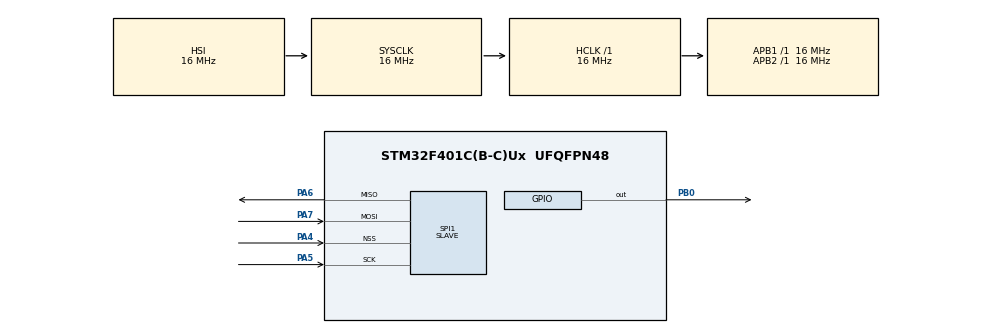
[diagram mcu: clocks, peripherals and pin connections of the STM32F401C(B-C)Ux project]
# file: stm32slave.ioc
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Mcu.Family=STM32F4
Mcu.Name=STM32F401C(B-C)Ux
Mcu.Package=UFQFPN48
NVIC.PriorityGroup=NVIC_PRIORITYGROUP_4
PA4.Mode=NSS_Signal_Hard_Input
PA4.Signal=SPI1_NSS
PA5.Mode=Full_Duplex_Slave
PA5.Signal=SPI1_SCK
PA6.Mode=Full_Duplex_Slave
PA6.Signal=SPI1_MISO
PA7.Mode=Full_Duplex_Slave
PA7.Signal=SPI1_MOSI
PB0.Signal=GPIO_Output
ProjectManager.HeapSize=0x200
ProjectManager.StackSize=0x400
ProjectManager.TargetToolchain=STM32CubeIDE
RCC.AHBFreq_Value=16000000
RCC.APB1Freq_Value=16000000
RCC.APB2Freq_Value=16000000
RCC.CortexFreq_Value=16000000
RCC.HSE_VALUE=25000000
RCC.HSI_VALUE=16000000
RCC.LSE_VALUE=32768
RCC.SYSCLKFreq_VALUE=16000000
RCC.VCOOutputFreq_Value=192000000
SPI1.Direction=SPI_DIRECTION_2LINES
SPI1.Mode=SPI_MODE_SLAVE
SPI1.VirtualNSS=VM_NSSHARD
SPI1.VirtualType=VM_SLAVE
board=custom

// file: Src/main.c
/* USER CODE BEGIN Header */
/**
  ******************************************************************************
  * @file           : main.c
  * @brief          : Main program body
  ******************************************************************************
  * @attention
  *
  * Copyright (c) 2026 STMicroelectronics.
  * All rights reserved.
  *
  * This software is licensed under terms that can be found in the LICENSE file
  * in the root directory of this software component.
  * If no LICENSE file comes with this software, it is provided AS-IS.
  *
  ******************************************************************************
  */
/* USER CODE END Header */
#include "main.h"

/* USER CODE BEGIN Includes */
#include <string.h>
/* USER CODE END Includes */

/* USER CODE BEGIN PD */
#define SPI_FRAME_LEN   8U    /* must match the ESP32 master's FRAME_LEN */
#define SPI_SYNC_BYTE   0xA5U /* master -> slave request marker */
#define SPI_ACK_BYTE    0x5AU /* slave -> master response marker */

#define CMD_SET_LED     0x10U /* frame[2] = 0 -> PB0 low, nonzero -> PB0 high */
/* USER CODE END PD */

SPI_HandleTypeDef hspi1;

/* USER CODE BEGIN PV */
static uint8_t spi_tx_buf[SPI_FRAME_LEN];
static uint8_t spi_rx_buf[SPI_FRAME_LEN];
/* USER CODE END PV */

void SystemClock_Config(void);
static void MX_GPIO_Init(void);
static void MX_SPI1_Init(void);

/* USER CODE BEGIN 0 */

/* Byte 0 of every frame in both directions is a throwaway dummy: STM32 hardware-NSS SPI
 * slave mode is known to unreliably capture/shift out the very first byte right after NSS
 * asserts (the shift register isn't guaranteed armed in time for the first clock edge), so
 * real data is placed starting at byte 1 to keep that unreliable byte out of the way.
 *
 * request:  frame[0]=dummy, frame[1]=SPI_SYNC_BYTE, frame[2]=command, frame[3]=argument,
 *           frame[4]=checksum (XOR of frame[1..3])
 * response: resp[0]=dummy,  resp[1]=SPI_ACK_BYTE,   resp[2]=command echoed, resp[3]=argument applied,
 *           resp[4]=status (1=ok), resp[5]=checksum (XOR of resp[1..4])
 * The checksum lets each side reject a frame that was electrically corrupted in transit, instead of
 * mistaking garbage for a valid sync/ack marker. */
static void Process_SPI_Command(const uint8_t *frame, uint8_t *response)
{
  memset(response, 0, SPI_FRAME_LEN);

  uint8_t frame_checksum = frame[1] ^ frame[2] ^ frame[3];
  if (frame[1] != SPI_SYNC_BYTE || frame[4] != frame_checksum)
  {
    return;
  }

  uint8_t status = 0U;
  if (frame[2] == CMD_SET_LED)
  {
    HAL_GPIO_WritePin(GPIOB, GPIO_PIN_0, frame[3] != 0U ? GPIO_PIN_SET : GPIO_PIN_RESET);
    status = 1U;
  }

  response[1] = SPI_ACK_BYTE;
  response[2] = frame[2];
  response[3] = frame[3];
  response[4] = status;
  response[5] = response[1] ^ response[2] ^ response[3] ^ response[4];
}

/* USER CODE END 0 */

int main(void)
{

  /* MCU Configuration--------------------------------------------------------*/

  /* Reset of all peripherals, Initializes the Flash interface and the Systick. */
  HAL_Init();

  /* Configure the system clock */
  SystemClock_Config();

  /* Initialize all configured peripherals */
  MX_GPIO_Init();
  MX_SPI1_Init();

  /* Infinite loop */
  while (1)
  {

    /* USER CODE BEGIN 3 */
    if (HAL_SPI_TransmitReceive(&hspi1, spi_tx_buf, spi_rx_buf, SPI_FRAME_LEN, 1500) == HAL_OK)
    {
      Process_SPI_Command(spi_rx_buf, spi_tx_buf);
    }

    /* Unconditionally reinit every cycle: hardware-NSS slave mode can hit not just
     * OVR but also a mode fault (MODF), which auto-clears the peripheral's enable
     * bit and disables it until something re-enables it -- HAL_SPI_Init() does that
     * unconditionally, so this recovers from either fault regardless of which one
     * hit. (Earlier this looked like it caused MISO corruption, but that was
     * actually a missing SCLK wire letting crosstalk leak onto a floating MISO;
     * with SCLK properly connected this reinit is safe.) */
    HAL_SPI_DeInit(&hspi1);
    MX_SPI1_Init();
  }
  /* USER CODE END 3 */
}

void SystemClock_Config(void)
{
  RCC_OscInitTypeDef RCC_OscInitStruct = {0};
  RCC_ClkInitTypeDef RCC_ClkInitStruct = {0};

  /** Configure the main internal regulator output voltage
  */
  __HAL_RCC_PWR_CLK_ENABLE();
  __HAL_PWR_VOLTAGESCALING_CONFIG(PWR_REGULATOR_VOLTAGE_SCALE2);

  /** Initializes the RCC Oscillators according to the specified parameters
  * in the RCC_OscInitTypeDef structure.
  */
  RCC_OscInitStruct.OscillatorType = RCC_OSCILLATORTYPE_HSI;
  RCC_OscInitStruct.HSIState = RCC_HSI_ON;
  RCC_OscInitStruct.HSICalibrationValue = RCC_HSICALIBRATION_DEFAULT;
  RCC_OscInitStruct.PLL.PLLState = RCC_PLL_NONE;
  if (HAL_RCC_OscConfig(&RCC_OscInitStruct) != HAL_OK)
  {
    Error_Handler();
  }

  /** Initializes the CPU, AHB and APB buses clocks
  */
  RCC_ClkInitStruct.ClockType = RCC_CLOCKTYPE_HCLK|RCC_CLOCKTYPE_SYSCLK
                              |RCC_CLOCKTYPE_PCLK1|RCC_CLOCKTYPE_PCLK2;
  RCC_ClkInitStruct.SYSCLKSource = RCC_SYSCLKSOURCE_HSI;
  RCC_ClkInitStruct.AHBCLKDivider = RCC_SYSCLK_DIV1;
  RCC_ClkInitStruct.APB1CLKDivider = RCC_HCLK_DIV1;
  RCC_ClkInitStruct.APB2CLKDivider = RCC_HCLK_DIV1;

  if (HAL_RCC_ClockConfig(&RCC_ClkInitStruct, FLASH_LATENCY_0) != HAL_OK)
  {
    Error_Handler();
  }
}

static void MX_SPI1_Init(void)
{

  /* SPI1 parameter configuration*/
  hspi1.Instance = SPI1;
  hspi1.Init.Mode = SPI_MODE_SLAVE;
  hspi1.Init.Direction = SPI_DIRECTION_2LINES;
  hspi1.Init.DataSize = SPI_DATASIZE_8BIT;
  hspi1.Init.CLKPolarity = SPI_POLARITY_LOW;
  hspi1.Init.CLKPhase = SPI_PHASE_1EDGE;
  hspi1.Init.NSS = SPI_NSS_HARD_INPUT;
  hspi1.Init.FirstBit = SPI_FIRSTBIT_MSB;
  hspi1.Init.TIMode = SPI_TIMODE_DISABLE;
  hspi1.Init.CRCCalculation = SPI_CRCCALCULATION_DISABLE;
  hspi1.Init.CRCPolynomial = 10;
  if (HAL_SPI_Init(&hspi1) != HAL_OK)
  {
    Error_Handler();
  }

}

static void MX_GPIO_Init(void)
{
  GPIO_InitTypeDef GPIO_InitStruct = {0};

  /* GPIO Ports Clock Enable */
  __HAL_RCC_GPIOA_CLK_ENABLE();
  __HAL_RCC_GPIOB_CLK_ENABLE();

  /* USER CODE BEGIN MX_GPIO_Init_2 */
  HAL_GPIO_WritePin(GPIOB, GPIO_PIN_0, GPIO_PIN_RESET);

  GPIO_InitStruct.Pin = GPIO_PIN_0;
  GPIO_InitStruct.Mode = GPIO_MODE_OUTPUT_PP;
  GPIO_InitStruct.Pull = GPIO_NOPULL;
  GPIO_InitStruct.Speed = GPIO_SPEED_FREQ_LOW;
  HAL_GPIO_Init(GPIOB, &GPIO_InitStruct);
  /* USER CODE END MX_GPIO_Init_2 */
}

void Error_Handler(void)
{
  __disable_irq();
  while (1)
  {
  }
}
